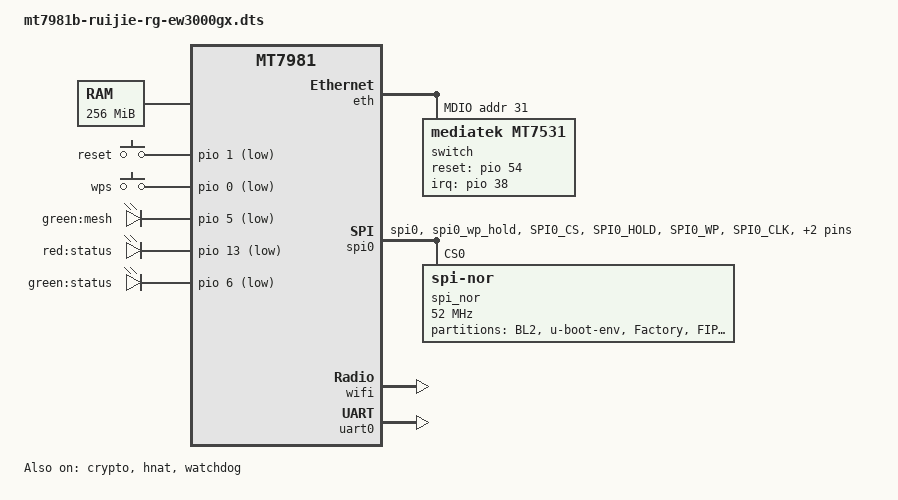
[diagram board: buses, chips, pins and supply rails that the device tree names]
// SPDX-License-Identifier: GPL-2.0-or-later OR MIT
/*
 * Ruijie EW3000GX (RG-EW3000GX / EW3000GX-PRO)
 *
 * SoC   : MediaTek MT7981 (Filogic 820), 2x Cortex-A53 @ 1.3GHz
 * RAM   : 256 MiB @ 0x40000000
 * Flash : SPI-NOR 32 MiB (0x2000000), 64 KiB erase
 *
 * 全部数据来自设备实测：
 *   /proc/device-tree/model      = "MediaTek MT7981 RFB"
 *   /proc/device-tree/compatible = "mediatek,mt7981-spim-nor-rfb"
 *   /proc/cmdline                = console=ttyS0,115200n1 loglevel=8 earlycon=uart8250,mmio32,0x11002000
 *   /proc/mtd 分区表             = 见下方 partitions
 *
 * 与 RG-X30E 的关键差异：
 *   X30E  = SPI-NAND 128MB + UBI + 双 FIP
 *   EW3000GX = SPI-NOR 32MB + 固定分区 + 单 FIP + FIT 复合镜像
 */

/dts-v1/;
#include <dt-bindings/gpio/gpio.h>
#include <dt-bindings/input/input.h>

#include "mt7981.dtsi"

/ {
	aliases {
		led-boot = &sysled_red;
		led-failsafe = &sysled_red;
		led-running = &sysled_green;
		led-upgrade = &sysled_red;
	};

	memory {
		reg = <0 0x40000000 0 0x10000000>;
	};

	chosen {
		bootargs = "console=ttyS0,115200n1 loglevel=8 earlycon=uart8250,mmio32,0x11002000";
	};

	gpio-keys {
		compatible = "gpio-keys";

		button-reset {
			label = "reset";
			linux,code = <KEY_RESTART>;
			gpios = <&pio 1 GPIO_ACTIVE_LOW>;
		};

		button-wps {
			label = "wps";
			linux,code = <KEY_WPS_BUTTON>;
			gpios = <&pio 0 GPIO_ACTIVE_LOW>;
		};
	};

	leds-gpio {
		compatible = "gpio-leds";

		mesh_led: led-0 {
			label = "green:mesh";
			gpios = <&pio 5 GPIO_ACTIVE_LOW>;
		};

		sysled_red: led-1 {
			label = "red:status";
			gpios = <&pio 13 GPIO_ACTIVE_LOW>;
		};

		sysled_green: led-2 {
			label = "green:status";
			gpios = <&pio 6 GPIO_ACTIVE_LOW>;
		};
	};
};

&crypto {
	status = "okay";
};

&eth {
	status = "okay";

	gmac0: mac@0 {
		compatible = "mediatek,eth-mac";
		reg = <0>;
		phy-mode = "2500base-x";

		fixed-link {
			speed = <2500>;
			full-duplex;
			pause;
		};
	};

	gmac1: mac@1 {
		compatible = "mediatek,eth-mac";
		reg = <1>;
		phy-mode = "2500base-x";

		fixed-link {
			speed = <2500>;
			full-duplex;
			pause;
		};
	};

	mdio: mdio-bus {
		#address-cells = <1>;
		#size-cells = <0>;
	};
};

&mdio {
	switch: switch@1f {
		compatible = "mediatek,mt7531";
		reg = <31>;
		reset-gpios = <&pio 54 GPIO_ACTIVE_HIGH>;
		interrupt-controller;
		#interrupt-cells = <1>;
		interrupt-parent = <&pio>;
		interrupts = <38 IRQ_TYPE_LEVEL_HIGH>;
	};
};

&hnat {
	mtketh-wan = "wan";
	mtketh-lan = "lan";
	mtketh-max-gmac = <1>;
	status = "okay";
};

&spi0 {
	pinctrl-names = "default";
	pinctrl-0 = <&spi0_flash_pins>;
	status = "okay";

	spi_nor: flash@0 {
		#address-cells = <1>;
		#size-cells = <1>;
		compatible = "jedec,spi-nor";
		reg = <0>;
		spi-max-frequency = <52000000>;
		spi-rx-bus-width = <4>;
		spi-tx-bus-width = <4>;

		partitions: partitions {
			compatible = "fixed-partitions";
			#address-cells = <1>;
			#size-cells = <1>;

			partition@0 {
				label = "BL2";
				reg = <0x0 0x40000>;
				read-only;
			};

			partition@40000 {
				label = "u-boot-env";
				reg = <0x40000 0x10000>;
			};

			partition@50000 {
				label = "Factory";
				reg = <0x50000 0x10000>;
				read-only;

				nvmem-layout {
					compatible = "fixed-layout";
					#address-cells = <1>;
					#size-cells = <1>;

					eeprom_factory_0: eeprom@0 {
						reg = <0x0 0x1000>;
					};
				};
			};

			partition@60000 {
				label = "FIP";
				reg = <0x60000 0x80000>;
				read-only;
			};

			partition@E0000 {
				label = "product_info";
				reg = <0xE0000 0x10000>;
				read-only;
			};

			partition@F0000 {
				label = "kdump";
				reg = <0xF0000 0x10000>;
			};

			partition@100000 {
				label = "firmware";
				reg = <0x100000 0xF00000>;

				compatible = "denx,fit";
				openwrt,fit-offset = <0x0>;
			};
		};
	};
};

&pio {
	spi0_flash_pins: spi0-pins {
		mux {
			function = "spi";
			groups = "spi0", "spi0_wp_hold";
		};

		conf-pu {
			pins = "SPI0_CS", "SPI0_HOLD", "SPI0_WP";
			drive-strength = <8>;
			bias-pull-up = <0>;
		};

		conf-pd {
			pins = "SPI0_CLK", "SPI0_MOSI", "SPI0_MISO";
			drive-strength = <8>;
			bias-pull-down = <0>;
		};
	};
};

&wifi {
	status = "okay";

	nvmem-cells = <&eeprom_factory_0>;
	nvmem-cell-names = "eeprom";
};

&uart0 {
	status = "okay";
};

&watchdog {
	status = "okay";
};
